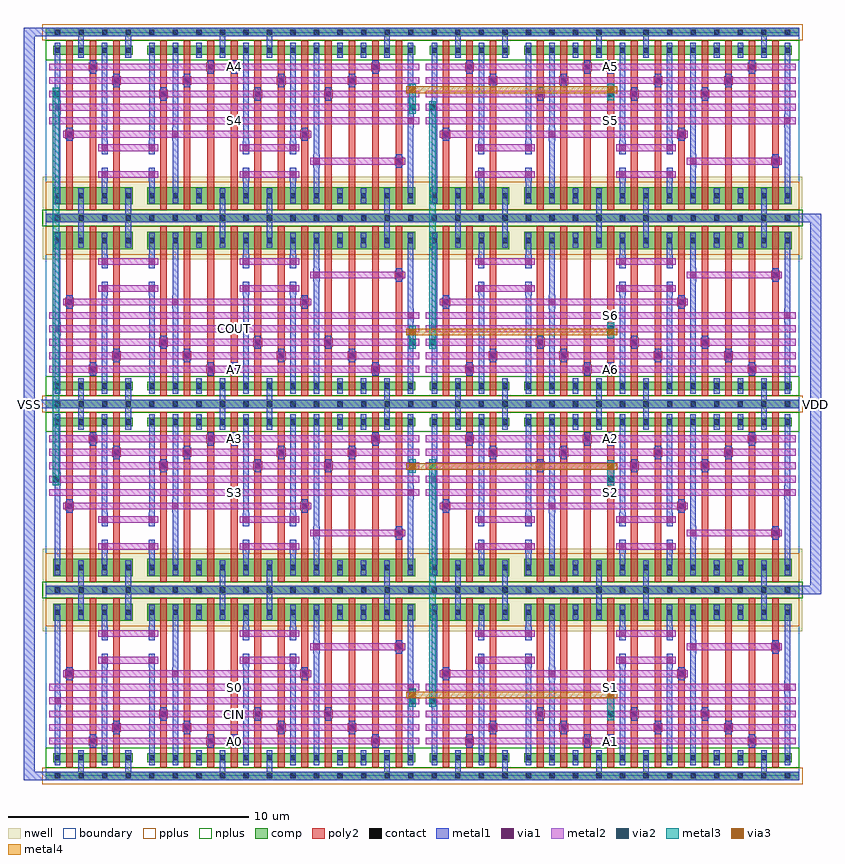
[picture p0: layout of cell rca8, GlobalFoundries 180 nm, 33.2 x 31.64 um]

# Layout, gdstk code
import gdstk
lib = gdstk.Library(unit=1e-6, precision=1e-09)
def R(c, l, rs):  # rectangles x0, y0, x1, y1
    for r in rs: c.add(gdstk.rectangle(r[:2], r[2:], *l))
def A(c, l, x, y, w, h, nx, ny, dx, dy):  # array of equal rectangles
    R(c, l, [(x+i*dx, y+j*dy, x+i*dx+w, y+j*dy+h) for i in range(nx) for j in range(ny)])
boundary = (0, 0)
nwell = (21, 0)
comp = (22, 0)
poly2 = (30, 0)
pplus = (31, 0)
nplus = (32, 0)
contact = (33, 0)
metal1 = (34, 0)
via1 = (35, 0)
metal2 = (36, 0)
via2 = (38, 0)
via3 = (40, 0)
metal3 = (42, 0)
metal4 = (46, 0)

c_fa = lib.new_cell('fa')
R(c_fa, boundary, [(0,0,15.68,7.74)])
R(c_fa, nwell, [(-0.12,6.02,15.8,8.04)])
R(c_fa, comp, [(0,-0.18,15.68,0.18), (0.31,0.57,3.61,0.93), (4.23,0.57,15.37,0.93), (0.31,6.45,3.61,7.17), (4.23,6.45,15.37,7.17), (0,7.56,15.68,7.92)])
A(c_fa, poly2, 0.84, 0.35, 0.28, 0.8, 3, 1, 0.98, 0)
A(c_fa, poly2, 4.76, 0.35, 0.28, 0.8, 11, 1, 0.98, 0)
A(c_fa, poly2, 0.84, 1.15, 0.28, 5.08, 3, 1, 0.98, 0)
A(c_fa, poly2, 4.76, 1.15, 0.28, 5.08, 11, 1, 0.98, 0)
A(c_fa, poly2, 0.84, 6.23, 0.28, 1.16, 3, 1, 0.98, 0)
A(c_fa, poly2, 4.76, 6.23, 0.28, 1.16, 11, 1, 0.98, 0)
R(c_fa, poly2, [(1.78,1.27,2.14,1.63), (6.68,1.27,7.04,1.63), (7.66,1.27,8.02,1.63), (13.54,1.27,13.9,1.63), (2.76,1.83,3.12,2.19), (5.7,1.83,6.06,2.19), (9.62,1.83,9.98,2.19), (12.56,1.83,12.92,2.19), (4.72,2.39,5.08,2.75), (8.64,2.39,9,2.75), (11.58,2.39,11.94,2.75), (0.8,4.07,1.16,4.43), (10.6,4.07,10.96,4.43), (14.52,5.19,14.88,5.55)])
R(c_fa, pplus, [(-0.16,-0.34,15.84,0.34), (0,6.22,15.68,7.4)])
R(c_fa, nplus, [(0,0.34,15.68,1.16), (-0.16,7.4,15.84,8.08)])
A(c_fa, contact, 0.38, -0.11, 0.22, 0.22, 16, 2, 0.98, 0.75)
A(c_fa, contact, 0.38, 6.7, 0.22, 0.22, 16, 2, 0.98, 0.93)
R(c_fa, contact, [(1.85,1.34,2.07,1.56), (6.75,1.34,6.97,1.56), (7.73,1.34,7.95,1.56), (13.61,1.34,13.83,1.56), (2.83,1.9,3.05,2.12), (5.77,1.9,5.99,2.12), (9.69,1.9,9.91,2.12), (12.63,1.9,12.85,2.12), (4.79,2.46,5.01,2.68), (8.71,2.46,8.93,2.68), (11.65,2.46,11.87,2.68), (0.87,4.14,1.09,4.36), (10.67,4.14,10.89,4.36), (14.59,5.26,14.81,5.48)])
A(c_fa, metal1, 0.375, 0.435, 0.23, 0.63, 16, 2, 0.98, 6.06)
R(c_fa, metal1, [(0,-0.18,15.68,0.18), (1.355,0,1.585,0.435), (3.315,0,3.545,0.435), (7.235,0,7.465,0.435), (9.195,0,9.425,0.435), (14.095,0,14.325,0.435), (0.375,1.065,0.605,3.13), (2.335,1.065,2.565,4.81), (4.295,1.065,4.525,4.81), (5.275,1.065,5.505,4.25), (8.215,1.065,8.445,4.81), (10.175,1.065,10.405,4.81), (11.155,1.065,11.385,5.37), (15.075,1.065,15.305,3.69), (1.83,1.17,2.09,1.73), (6.73,1.17,6.99,1.73), (7.71,1.17,7.97,1.73), (13.59,1.17,13.85,1.73), (2.81,1.73,3.07,2.29), (5.75,1.73,6.01,2.29), (9.67,1.73,9.93,2.29), (12.61,1.73,12.87,2.29), (4.77,2.29,5.03,2.85), (8.69,2.29,8.95,2.85), (11.63,2.29,11.89,2.85), (0.36,2.85,0.62,3.41), (0.36,2.85,0.62,3.41), (0.375,3.13,0.605,6.495), (15.06,3.41,15.32,3.97), (15.06,3.41,15.32,3.97), (15.075,3.69,15.305,6.495), (0.85,3.97,1.11,4.53), (5.26,3.97,5.52,4.53), (5.26,3.97,5.52,4.53), (10.65,3.97,10.91,4.53), (5.275,4.25,5.505,6.495), (2.32,4.53,2.58,5.09), (4.28,4.53,4.54,5.09), (8.2,4.53,8.46,5.09), (10.16,4.53,10.42,5.09), (11.14,5.09,11.4,5.65), (11.14,5.09,11.4,5.65), (14.57,5.09,14.83,5.65), (11.155,5.37,11.385,6.495), (2.32,5.65,2.58,6.21), (4.28,5.65,4.54,6.21), (8.2,5.65,8.46,6.21), (10.16,5.65,10.42,6.21), (2.335,5.93,2.565,6.495), (4.295,5.93,4.525,6.495), (8.215,5.93,8.445,6.495), (10.175,5.93,10.405,6.495), (1.355,7.125,1.585,7.74), (3.315,7.125,3.545,7.74), (7.235,7.125,7.465,7.74), (9.195,7.125,9.425,7.74), (14.095,7.125,14.325,7.74), (0,7.56,15.68,7.92)])
R(c_fa, via1, [(1.83,1.32,2.09,1.58), (6.73,1.32,6.99,1.58), (7.71,1.32,7.97,1.58), (13.59,1.32,13.85,1.58), (2.81,1.88,3.07,2.14), (5.75,1.88,6.01,2.14), (9.67,1.88,9.93,2.14), (12.61,1.88,12.87,2.14), (4.77,2.44,5.03,2.7), (8.69,2.44,8.95,2.7), (11.63,2.44,11.89,2.7), (0.36,3,0.62,3.26), (0.36,3,0.62,3.26), (15.06,3.56,15.32,3.82), (15.06,3.56,15.32,3.82), (0.85,4.12,1.11,4.38), (5.26,4.12,5.52,4.38), (5.26,4.12,5.52,4.38), (10.65,4.12,10.91,4.38), (2.32,4.68,2.58,4.94), (4.28,4.68,4.54,4.94), (8.2,4.68,8.46,4.94), (10.16,4.68,10.42,4.94), (11.14,5.24,11.4,5.5), (11.14,5.24,11.4,5.5), (14.57,5.24,14.83,5.5), (2.32,5.8,2.58,6.06), (4.28,5.8,4.54,6.06), (8.2,5.8,8.46,6.06), (10.16,5.8,10.42,6.06)])
A(c_fa, metal2, 0.14, 1.31, 15.4, 0.28, 1, 5, 0, 0.56)
R(c_fa, metal2, [(1.7,1.31,2.22,1.59), (6.6,1.31,7.12,1.59), (7.58,1.31,8.1,1.59), (13.46,1.31,13.98,1.59), (2.68,1.87,3.2,2.15), (5.62,1.87,6.14,2.15), (9.54,1.87,10.06,2.15), (12.48,1.87,13,2.15), (4.64,2.43,5.16,2.71), (8.56,2.43,9.08,2.71), (11.5,2.43,12.02,2.71), (0.23,2.99,0.75,3.27), (0.23,2.99,0.75,3.27), (14.93,3.55,15.45,3.83), (14.93,3.55,15.45,3.83), (0.72,4.11,1.24,4.39), (0.98,4.11,10.78,4.39), (5.13,4.11,5.65,4.39), (5.13,4.11,5.65,4.39), (10.52,4.11,11.04,4.39), (2.19,4.67,2.71,4.95), (2.45,4.67,4.41,4.95), (4.15,4.67,4.67,4.95), (8.07,4.67,8.59,4.95), (8.33,4.67,10.29,4.95), (10.03,4.67,10.55,4.95), (11.01,5.23,11.53,5.51), (11.01,5.23,11.53,5.51), (11.27,5.23,14.7,5.51), (14.44,5.23,14.96,5.51), (2.19,5.79,2.71,6.07), (2.45,5.79,4.41,6.07), (4.15,5.79,4.67,6.07), (8.07,5.79,8.59,6.07), (8.33,5.79,10.29,6.07), (10.03,5.79,10.55,6.07)])
c_fa.add(gdstk.Label('VSS', (7.84,0), layer=34, texttype=10))
c_fa.add(gdstk.Label('VDD', (7.84,7.74), layer=34, texttype=10))
c_fa.add(gdstk.Label('COUT', (7.84,3.13), layer=36, texttype=10))
c_fa.add(gdstk.Label('SUM', (7.84,3.69), layer=36, texttype=10))
c_fa.add(gdstk.Label('A', (7.84,1.45), layer=36, texttype=10))
c_fa.add(gdstk.Label('B', (7.84,2.01), layer=36, texttype=10))
c_fa.add(gdstk.Label('CIN', (7.84,2.57), layer=36, texttype=10))

rca8 = lib.new_cell('rca8')
A(rca8, metal1, -0.92, -0.18, 0.92, 0.36, 1, 3, 0, 15.48)
R(rca8, metal1, [(-0.92,-0.18,-0.46,31.14), (31.36,7.56,32.28,7.92), (31.82,7.56,32.28,23.4), (31.36,23.04,32.28,23.4)])
R(rca8, metal2, [(23.26,2.43,23.78,2.71), (15,2.99,15.52,3.27), (15.84,2.99,16.36,3.27), (0.16,12.21,0.68,12.49), (23.26,12.21,23.78,12.49), (15,12.77,15.52,13.05), (15.84,12.77,16.36,13.05), (15,17.91,15.52,18.19), (15.84,17.91,16.36,18.19), (23.26,18.47,23.78,18.75), (15,27.69,15.52,27.97), (15.84,27.69,16.36,27.97), (0.16,28.25,0.68,28.53), (23.26,28.25,23.78,28.53)])
R(rca8, via2, [(23.39,2.44,23.65,2.7), (15.13,3,15.39,3.26), (15.97,3,16.23,3.26), (0.29,12.22,0.55,12.48), (23.39,12.22,23.65,12.48), (15.13,12.78,15.39,13.04), (15.97,12.78,16.23,13.04), (15.13,17.92,15.39,18.18), (15.97,17.92,16.23,18.18), (23.39,18.48,23.65,18.74), (15.13,27.7,15.39,27.96), (15.97,27.7,16.23,27.96), (0.29,28.26,0.55,28.52), (23.39,28.26,23.65,28.52)])
R(rca8, via3, [(15.13,3.23,15.39,3.49), (23.39,3.23,23.65,3.49), (15.13,12.75,15.39,13.01), (23.39,12.75,23.65,13.01), (15.13,18.35,15.39,18.61), (23.39,18.35,23.65,18.61), (15.13,28.43,15.39,28.69), (23.39,28.43,23.65,28.69)])
R(rca8, metal3, [(23.38,2.31,23.66,2.83), (23.38,2.57,23.66,3.36), (15.12,2.87,15.4,3.39), (15.96,2.87,16.24,3.39), (15.12,3.1,15.4,3.62), (23.38,3.1,23.66,3.62), (15.12,3.13,15.4,3.36), (15.96,3.13,16.24,12.91), (0.28,12.09,0.56,12.61), (23.38,12.09,23.66,12.61), (0.28,12.35,0.56,28.39), (23.38,12.35,23.66,12.88), (15.12,12.62,15.4,13.14), (23.38,12.62,23.66,13.14), (15.12,12.65,15.4,13.17), (15.96,12.65,16.24,13.17), (15.12,12.88,15.4,12.91), (15.12,17.79,15.4,18.31), (15.96,17.79,16.24,18.31), (15.12,18.05,15.4,18.48), (15.96,18.05,16.24,27.83), (15.12,18.22,15.4,18.74), (23.38,18.22,23.66,18.74), (23.38,18.35,23.66,18.87), (23.38,18.48,23.66,18.61), (15.12,27.57,15.4,28.09), (15.96,27.57,16.24,28.09), (15.12,27.83,15.4,28.56), (0.28,28.13,0.56,28.65), (23.38,28.13,23.66,28.65), (15.12,28.3,15.4,28.82), (23.38,28.3,23.66,28.82), (23.38,28.39,23.66,28.56)])
R(rca8, metal4, [(15,3.22,15.52,3.5), (15.26,3.22,23.52,3.5), (23.26,3.22,23.78,3.5), (15,12.74,15.52,13.02), (15.26,12.74,23.52,13.02), (23.26,12.74,23.78,13.02), (15,18.34,15.52,18.62), (15.26,18.34,23.52,18.62), (23.26,18.34,23.78,18.62), (15,28.42,15.52,28.7), (15.26,28.42,23.52,28.7), (23.26,28.42,23.78,28.7)])
rca8.add(gdstk.Reference(c_fa, (0,0)))
rca8.add(gdstk.Reference(c_fa, (15.68,0)))
rca8.add(gdstk.Reference(c_fa, (0,15.48), x_reflection=True))
rca8.add(gdstk.Reference(c_fa, (15.68,15.48), x_reflection=True))
rca8.add(gdstk.Reference(c_fa, (0,15.48)))
rca8.add(gdstk.Reference(c_fa, (15.68,15.48)))
rca8.add(gdstk.Reference(c_fa, (0,30.96), x_reflection=True))
rca8.add(gdstk.Reference(c_fa, (15.68,30.96), x_reflection=True))
rca8.add(gdstk.Label('VSS', (-0.69,15.48), layer=34, texttype=10))
rca8.add(gdstk.Label('VDD', (32.05,15.48), layer=34, texttype=10))
rca8.add(gdstk.Label('A0', (7.84,1.45), layer=36, texttype=10))
rca8.add(gdstk.Label('A1', (23.52,1.45), layer=36, texttype=10))
rca8.add(gdstk.Label('A2', (23.52,14.03), layer=36, texttype=10))
rca8.add(gdstk.Label('A3', (7.84,14.03), layer=36, texttype=10))
rca8.add(gdstk.Label('A4', (7.84,29.51), layer=36, texttype=10))
rca8.add(gdstk.Label('A5', (23.52,29.51), layer=36, texttype=10))
rca8.add(gdstk.Label('A6', (23.52,16.93), layer=36, texttype=10))
rca8.add(gdstk.Label('A7', (7.84,16.93), layer=36, texttype=10))
rca8.add(gdstk.Label('B0', (7.84,2.01), layer=36, texttype=10))
rca8.add(gdstk.Label('B1', (23.52,2.01), layer=36, texttype=10))
rca8.add(gdstk.Label('B2', (23.52,13.47), layer=36, texttype=10))
rca8.add(gdstk.Label('B3', (7.84,13.47), layer=36, texttype=10))
rca8.add(gdstk.Label('B4', (7.84,28.95), layer=36, texttype=10))
rca8.add(gdstk.Label('B5', (23.52,28.95), layer=36, texttype=10))
rca8.add(gdstk.Label('B6', (23.52,17.49), layer=36, texttype=10))
rca8.add(gdstk.Label('B7', (7.84,17.49), layer=36, texttype=10))
rca8.add(gdstk.Label('CIN', (7.84,2.57), layer=36, texttype=10))
rca8.add(gdstk.Label('COUT', (7.84,18.61), layer=36, texttype=10))
rca8.add(gdstk.Label('S0', (7.84,3.69), layer=36, texttype=10))
rca8.add(gdstk.Label('S1', (23.52,3.69), layer=36, texttype=10))
rca8.add(gdstk.Label('S2', (23.52,11.79), layer=36, texttype=10))
rca8.add(gdstk.Label('S3', (7.84,11.79), layer=36, texttype=10))
rca8.add(gdstk.Label('S4', (7.84,27.27), layer=36, texttype=10))
rca8.add(gdstk.Label('S5', (23.52,27.27), layer=36, texttype=10))
rca8.add(gdstk.Label('S6', (23.52,19.17), layer=36, texttype=10))
rca8.add(gdstk.Label('S7', (7.84,19.17), layer=36, texttype=10))

lib.write_gds('rca8.gds')
